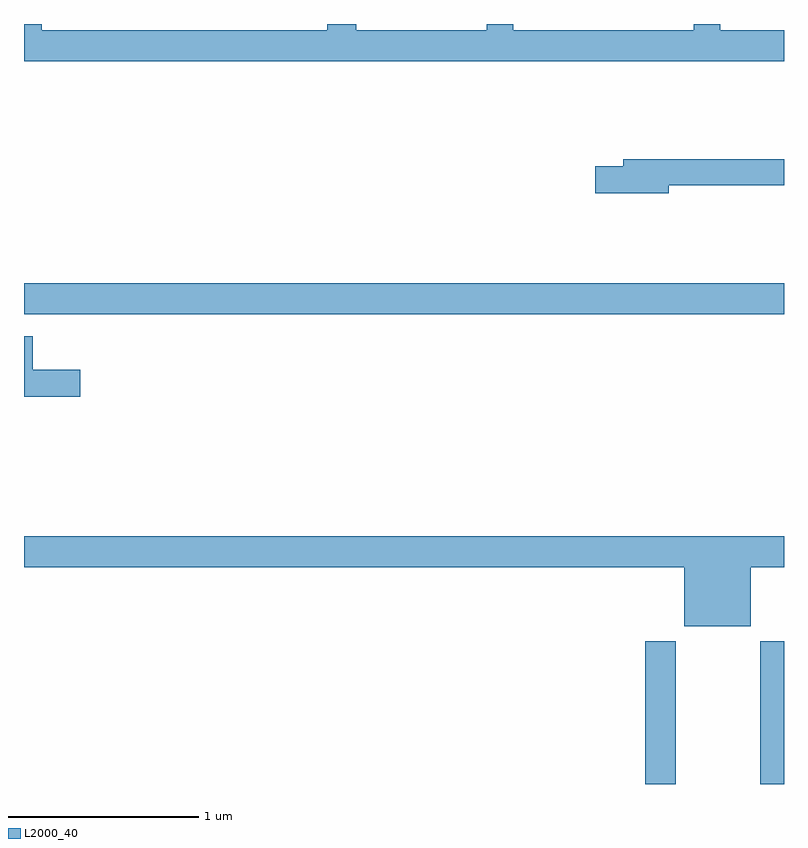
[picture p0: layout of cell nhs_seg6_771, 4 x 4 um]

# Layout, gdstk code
import gdstk
lib = gdstk.Library(unit=1e-6, precision=1e-09)
def R(c, l, rs):  # rectangles x0, y0, x1, y1
    for r in rs: c.add(gdstk.rectangle(r[:2], r[2:], *l))
def P(c, l, *ps):  # polygons
    for p in ps: c.add(gdstk.Polygon(p, *l))
L2000_40 = (2000, 40)

nhs_seg6_771 = lib.new_cell('nhs_seg6_771')
R(nhs_seg6_771, L2000_40, [(162.269,975.5,162.429,976.252), (162.874,975.5,163,976.252), (159,977.972,163,978.136)])
P(nhs_seg6_771, L2000_40, [(163,979.468),(162.664,979.468),(162.664,979.5),(162.525,979.5),(162.525,979.468),(161.575,979.468),(161.575,979.5),(161.435,979.5),(161.435,979.468),(160.748,979.468),(160.748,979.5),(160.596,979.5),(160.596,979.468),(159.094,979.468),(159.094,979.5),(159,979.5),(159,979.304),(163,979.304)],
  [(162.394,978.652),(163,978.652),(163,978.788),(162.155,978.788),(162.155,978.752),(162.006,978.752),(162.006,978.61),(162.394,978.61)],
  [(159.295,977.679),(159.046,977.679),(159.046,977.857),(159,977.857),(159,977.537),(159.295,977.537)],
  [(162.826,976.64),(163,976.64),(163,976.804),(159,976.804),(159,976.64),(162.476,976.64),(162.476,976.331),(162.826,976.331)])

lib.write_gds('nhs_seg6_771.gds')
